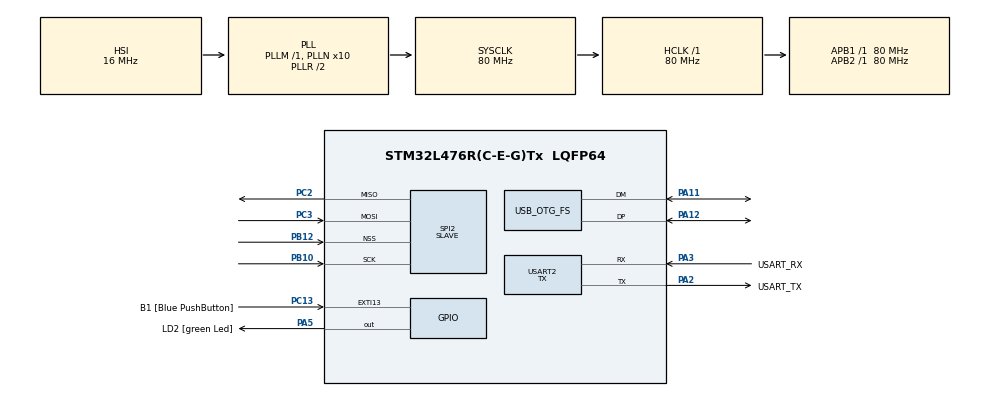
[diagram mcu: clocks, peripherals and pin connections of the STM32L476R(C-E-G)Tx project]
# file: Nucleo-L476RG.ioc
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Mcu.Family=STM32L4
Mcu.Name=STM32L476R(C-E-G)Tx
Mcu.Package=LQFP64
NVIC.PriorityGroup=NVIC_PRIORITYGROUP_4
PA11.Mode=Device_Only
PA11.Signal=USB_OTG_FS_DM
PA12.Mode=Device_Only
PA12.Signal=USB_OTG_FS_DP
PA13\ (JTMS-SWDIO).GPIO_Label=TMS
PA13\ (JTMS-SWDIO).Mode=Trace_Asynchronous_SW
PA13\ (JTMS-SWDIO).Signal=SYS_JTMS-SWDIO
PA14\ (JTCK-SWCLK).GPIO_Label=TCK
PA14\ (JTCK-SWCLK).Mode=Trace_Asynchronous_SW
PA14\ (JTCK-SWCLK).Signal=SYS_JTCK-SWCLK
PA2.GPIO_Label=USART_TX
PA2.GPIO_Mode=GPIO_MODE_AF_PP
PA2.GPIO_PuPd=GPIO_NOPULL
PA2.GPIO_Speed=GPIO_SPEED_FREQ_VERY_HIGH
PA2.Mode=Asynchronous
PA2.Signal=USART2_TX
PA3.GPIO_Label=USART_RX
PA3.GPIO_Mode=GPIO_MODE_AF_PP
PA3.GPIO_PuPd=GPIO_NOPULL
PA3.GPIO_Speed=GPIO_SPEED_FREQ_VERY_HIGH
PA3.Mode=Asynchronous
PA3.Signal=USART2_RX
PA5.GPIO_Label=LD2 [green Led]
PA5.GPIO_ModeDefaultOutputPP=GPIO_MODE_OUTPUT_PP
PA5.GPIO_PuPd=GPIO_NOPULL
PA5.GPIO_Speed=GPIO_SPEED_FREQ_LOW
PA5.Signal=GPIO_Output
PB10.Mode=Full_Duplex_Slave
PB10.Signal=SPI2_SCK
PB12.Mode=NSS_Signal_Hard_Input
PB12.Signal=SPI2_NSS
PB3\ (JTDO-TRACESWO).GPIO_Label=SWO
PB3\ (JTDO-TRACESWO).Mode=Trace_Asynchronous_SW
PB3\ (JTDO-TRACESWO).Signal=SYS_JTDO-SWO
PC13.GPIO_Label=B1 [Blue PushButton]
PC13.GPIO_ModeDefaultEXTI=GPIO_MODE_IT_FALLING
PC13.GPIO_PuPd=GPIO_NOPULL
PC13.Signal=GPXTI13
PC14-OSC32_IN\ (PC14).Mode=LSE-External-Oscillator
PC14-OSC32_IN\ (PC14).Signal=RCC_OSC32_IN
PC15-OSC32_OUT\ (PC15).Mode=LSE-External-Oscillator
PC15-OSC32_OUT\ (PC15).Signal=RCC_OSC32_OUT
PC2.Mode=Full_Duplex_Slave
PC2.Signal=SPI2_MISO
PC3.Mode=Full_Duplex_Slave
PC3.Signal=SPI2_MOSI
PH0-OSC_IN\ (PH0).Signal=RCC_OSC_IN
PH1-OSC_OUT\ (PH1).Signal=RCC_OSC_OUT
ProjectManager.HeapSize=0x200
ProjectManager.StackSize=0xf000
ProjectManager.TargetToolchain=STM32CubeIDE
RCC.ADCFreq_Value=64000000
RCC.AHBFreq_Value=80000000
RCC.APB1Freq_Value=80000000
RCC.APB1TimFreq_Value=80000000
RCC.APB2Freq_Value=80000000
RCC.APB2TimFreq_Value=80000000
RCC.CK48CLockSelection=RCC_USBCLKSOURCE_MSI
RCC.CortexFreq_Value=80000000
RCC.HCLKFreq_Value=80000000
RCC.HSE_VALUE=8000000
RCC.HSI_VALUE=16000000
RCC.MSIClockRange=RCC_MSIRANGE_11
RCC.MSI_VALUE=48000000
RCC.PLLN=10
RCC.PLLSourceVirtual=RCC_PLLSOURCE_HSI
RCC.PREFETCH_ENABLE=1
RCC.RTCClockSelection=RCC_RTCCLKSOURCE_LSE
RCC.SYSCLKFreq_VALUE=80000000
RCC.SYSCLKSource=RCC_SYSCLKSOURCE_PLLCLK
RCC.USBFreq_Value=48000000
RCC.VCOOutputFreq_Value=160000000
RTC.Format=RTC_FORMAT_BIN
SPI2.DataSize=SPI_DATASIZE_8BIT
SPI2.Direction=SPI_DIRECTION_2LINES
SPI2.Mode=SPI_MODE_SLAVE
SPI2.VirtualNSS=VM_NSSHARD
SPI2.VirtualType=VM_SLAVE
USART2.Mode=MODE_TX
USART2.VirtualMode-Asynchronous=VM_ASYNC
USART2.WordLength=WORDLENGTH_8B
USB_OTG_FS.VirtualMode=Device_Only
VP_RNG_VS_RNG.Mode=RNG_Activate
VP_RTC_VS_RTC_Activate.Mode=RTC_Enabled
VP_RTC_VS_RTC_Calendar.Mode=RTC_Calendar
board=NUCLEO-L476RG

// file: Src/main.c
/* USER CODE BEGIN Header */
/**
  ******************************************************************************
  * @file           : main.c
  * @brief          : Main program body
  ******************************************************************************
  * @attention
  *
  * Copyright (c) 2022 STMicroelectronics.
  * All rights reserved.
  *
  * This software is licensed under terms that can be found in the LICENSE file
  * in the root directory of this software component.
  * If no LICENSE file comes with this software, it is provided AS-IS.
  *
  ******************************************************************************
  */
/* USER CODE END Header */
#include "main.h"

/* USER CODE BEGIN Includes */
#include <stdio.h>
#include <stdint.h>
#include <stdbool.h>
#include <time.h>
#include "TpmDevice.h"
#include "StmUtil.h"
#include "spi_utils.h"

/* USER CODE END Includes */

RNG_HandleTypeDef hrng;

RTC_HandleTypeDef hrtc;

SPI_HandleTypeDef hspi2;

UART_HandleTypeDef huart2;

PCD_HandleTypeDef hpcd_USB_OTG_FS;

/* USER CODE BEGIN PV */
/* Private variables ---------------------------------------------------------*/

/* USER CODE END PV */

void SystemClock_Config(void);
static void MX_GPIO_Init(void);
static void MX_RNG_Init(void);
static void MX_RTC_Init(void);
static void MX_USART2_UART_Init(void);
static void MX_SPI2_Init(void);
static void MX_USB_OTG_FS_PCD_Init(void);
/* USER CODE BEGIN PFP */
uint8_t rx_spi_buff[512] = {0};
uint8_t tx_spi_buff[512] = {0};
/* Private function prototypes -----------------------------------------------*/
#define CPU_CORE_FREQUENCY_HZ 800000000 /* CPU core frequency in Hz */
void SWO_Init(uint32_t portBits, uint32_t cpuCoreFreqHz);
/* USER CODE END PFP */

int main(void)
{

  /* MCU Configuration--------------------------------------------------------*/

  /* Reset of all peripherals, Initializes the Flash interface and the Systick. */
  HAL_Init();

  /* Configure the system clock */
  SystemClock_Config();

  /* Initialize all configured peripherals */
  MX_GPIO_Init();
  MX_RNG_Init();
  MX_RTC_Init();
  MX_USART2_UART_Init();
  MX_SPI2_Init();
  MX_USB_OTG_FS_PCD_Init();
  /* USER CODE BEGIN 2 */
  InitializeITM();
  fprintf(stderr, "\r\n\r\n=========================\r\n"
                          "= Nucleo-L476RG TPM 2.0 =\r\n"
                          "=========================\r\n");
  printf("Nucleo-L476RG TPM 2.0\r\n");

  if(!TpmInitializeDevice())
  {
      //_Error_Handler(__FILE__, __LINE__);
	  Error_Handler();
  }

  spi_main_loop();

  /* USER CODE END 2 */

  /* Infinite loop */
  while (1)
  {

  }
}

void SystemClock_Config(void)
{
  RCC_OscInitTypeDef RCC_OscInitStruct = {0};
  RCC_ClkInitTypeDef RCC_ClkInitStruct = {0};

  /** Configure the main internal regulator output voltage
  */
  if (HAL_PWREx_ControlVoltageScaling(PWR_REGULATOR_VOLTAGE_SCALE1) != HAL_OK)
  {
    Error_Handler();
  }

  /** Configure LSE Drive Capability
  */
  HAL_PWR_EnableBkUpAccess();
  __HAL_RCC_LSEDRIVE_CONFIG(RCC_LSEDRIVE_LOW);

  /** Initializes the RCC Oscillators according to the specified parameters
  * in the RCC_OscInitTypeDef structure.
  */
  RCC_OscInitStruct.OscillatorType = RCC_OSCILLATORTYPE_HSI|RCC_OSCILLATORTYPE_LSE
                              |RCC_OSCILLATORTYPE_MSI;
  RCC_OscInitStruct.LSEState = RCC_LSE_ON;
  RCC_OscInitStruct.HSIState = RCC_HSI_ON;
  RCC_OscInitStruct.HSICalibrationValue = RCC_HSICALIBRATION_DEFAULT;
  RCC_OscInitStruct.MSIState = RCC_MSI_ON;
  RCC_OscInitStruct.MSICalibrationValue = 0;
  RCC_OscInitStruct.MSIClockRange = RCC_MSIRANGE_11;
  RCC_OscInitStruct.PLL.PLLState = RCC_PLL_ON;
  RCC_OscInitStruct.PLL.PLLSource = RCC_PLLSOURCE_HSI;
  RCC_OscInitStruct.PLL.PLLM = 1;
  RCC_OscInitStruct.PLL.PLLN = 10;
  RCC_OscInitStruct.PLL.PLLP = RCC_PLLP_DIV7;
  RCC_OscInitStruct.PLL.PLLQ = RCC_PLLQ_DIV2;
  RCC_OscInitStruct.PLL.PLLR = RCC_PLLR_DIV2;
  if (HAL_RCC_OscConfig(&RCC_OscInitStruct) != HAL_OK)
  {
    Error_Handler();
  }

  /** Initializes the CPU, AHB and APB buses clocks
  */
  RCC_ClkInitStruct.ClockType = RCC_CLOCKTYPE_HCLK|RCC_CLOCKTYPE_SYSCLK
                              |RCC_CLOCKTYPE_PCLK1|RCC_CLOCKTYPE_PCLK2;
  RCC_ClkInitStruct.SYSCLKSource = RCC_SYSCLKSOURCE_PLLCLK;
  RCC_ClkInitStruct.AHBCLKDivider = RCC_SYSCLK_DIV1;
  RCC_ClkInitStruct.APB1CLKDivider = RCC_HCLK_DIV1;
  RCC_ClkInitStruct.APB2CLKDivider = RCC_HCLK_DIV1;

  if (HAL_RCC_ClockConfig(&RCC_ClkInitStruct, FLASH_LATENCY_4) != HAL_OK)
  {
    Error_Handler();
  }

  /** Enable MSI Auto calibration
  */
  HAL_RCCEx_EnableMSIPLLMode();
}

static void MX_RNG_Init(void)
{

  hrng.Instance = RNG;
  if (HAL_RNG_Init(&hrng) != HAL_OK)
  {
    Error_Handler();
  }

}

static void MX_RTC_Init(void)
{

  RTC_TimeTypeDef sTime = {0};
  RTC_DateTypeDef sDate = {0};

  /** Initialize RTC Only
  */
  hrtc.Instance = RTC;
  hrtc.Init.HourFormat = RTC_HOURFORMAT_24;
  hrtc.Init.AsynchPrediv = 127;
  hrtc.Init.SynchPrediv = 255;
  hrtc.Init.OutPut = RTC_OUTPUT_DISABLE;
  hrtc.Init.OutPutRemap = RTC_OUTPUT_REMAP_NONE;
  hrtc.Init.OutPutPolarity = RTC_OUTPUT_POLARITY_HIGH;
  hrtc.Init.OutPutType = RTC_OUTPUT_TYPE_OPENDRAIN;
  if (HAL_RTC_Init(&hrtc) != HAL_OK)
  {
    Error_Handler();
  }

  /** Initialize RTC and set the Time and Date
  */
  sTime.Hours = 0;
  sTime.Minutes = 0;
  sTime.Seconds = 0;
  sTime.DayLightSaving = RTC_DAYLIGHTSAVING_NONE;
  sTime.StoreOperation = RTC_STOREOPERATION_RESET;
  if (HAL_RTC_SetTime(&hrtc, &sTime, RTC_FORMAT_BIN) != HAL_OK)
  {
    Error_Handler();
  }
  sDate.WeekDay = RTC_WEEKDAY_MONDAY;
  sDate.Month = RTC_MONTH_JANUARY;
  sDate.Date = 1;
  sDate.Year = 0;

  if (HAL_RTC_SetDate(&hrtc, &sDate, RTC_FORMAT_BIN) != HAL_OK)
  {
    Error_Handler();
  }

}

static void MX_SPI2_Init(void)
{

  /* SPI2 parameter configuration*/
  hspi2.Instance = SPI2;
  hspi2.Init.Mode = SPI_MODE_SLAVE;
  hspi2.Init.Direction = SPI_DIRECTION_2LINES;
  hspi2.Init.DataSize = SPI_DATASIZE_8BIT;
  hspi2.Init.CLKPolarity = SPI_POLARITY_LOW;
  hspi2.Init.CLKPhase = SPI_PHASE_1EDGE;
  hspi2.Init.NSS = SPI_NSS_HARD_INPUT;
  hspi2.Init.FirstBit = SPI_FIRSTBIT_MSB;
  hspi2.Init.TIMode = SPI_TIMODE_DISABLE;
  hspi2.Init.CRCCalculation = SPI_CRCCALCULATION_DISABLE;
  hspi2.Init.CRCPolynomial = 7;
  hspi2.Init.CRCLength = SPI_CRC_LENGTH_DATASIZE;
  hspi2.Init.NSSPMode = SPI_NSS_PULSE_DISABLE;
  if (HAL_SPI_Init(&hspi2) != HAL_OK)
  {
    Error_Handler();
  }

}

static void MX_USART2_UART_Init(void)
{

  huart2.Instance = USART2;
  huart2.Init.BaudRate = 115200;
  huart2.Init.WordLength = UART_WORDLENGTH_8B;
  huart2.Init.StopBits = UART_STOPBITS_1;
  huart2.Init.Parity = UART_PARITY_NONE;
  huart2.Init.Mode = UART_MODE_TX;
  huart2.Init.HwFlowCtl = UART_HWCONTROL_NONE;
  huart2.Init.OverSampling = UART_OVERSAMPLING_16;
  huart2.Init.OneBitSampling = UART_ONE_BIT_SAMPLE_DISABLE;
  huart2.AdvancedInit.AdvFeatureInit = UART_ADVFEATURE_NO_INIT;
  if (HAL_UART_Init(&huart2) != HAL_OK)
  {
    Error_Handler();
  }

}

static void MX_USB_OTG_FS_PCD_Init(void)
{

  hpcd_USB_OTG_FS.Instance = USB_OTG_FS;
  hpcd_USB_OTG_FS.Init.dev_endpoints = 6;
  hpcd_USB_OTG_FS.Init.speed = PCD_SPEED_FULL;
  hpcd_USB_OTG_FS.Init.phy_itface = PCD_PHY_EMBEDDED;
  hpcd_USB_OTG_FS.Init.Sof_enable = DISABLE;
  hpcd_USB_OTG_FS.Init.low_power_enable = DISABLE;
  hpcd_USB_OTG_FS.Init.lpm_enable = DISABLE;
  hpcd_USB_OTG_FS.Init.battery_charging_enable = DISABLE;
  hpcd_USB_OTG_FS.Init.use_dedicated_ep1 = DISABLE;
  hpcd_USB_OTG_FS.Init.vbus_sensing_enable = DISABLE;
  if (HAL_PCD_Init(&hpcd_USB_OTG_FS) != HAL_OK)
  {
    Error_Handler();
  }

}

static void MX_GPIO_Init(void)
{
  GPIO_InitTypeDef GPIO_InitStruct = {0};

  /* GPIO Ports Clock Enable */
  __HAL_RCC_GPIOC_CLK_ENABLE();
  __HAL_RCC_GPIOH_CLK_ENABLE();
  __HAL_RCC_GPIOA_CLK_ENABLE();
  __HAL_RCC_GPIOB_CLK_ENABLE();

  /*Configure GPIO pin Output Level */
  HAL_GPIO_WritePin(LD2_GPIO_Port, LD2_Pin, GPIO_PIN_RESET);

  /*Configure GPIO pin : B1_Pin */
  GPIO_InitStruct.Pin = B1_Pin;
  GPIO_InitStruct.Mode = GPIO_MODE_IT_FALLING;
  GPIO_InitStruct.Pull = GPIO_NOPULL;
  HAL_GPIO_Init(B1_GPIO_Port, &GPIO_InitStruct);

  /*Configure GPIO pin : LD2_Pin */
  GPIO_InitStruct.Pin = LD2_Pin;
  GPIO_InitStruct.Mode = GPIO_MODE_OUTPUT_PP;
  GPIO_InitStruct.Pull = GPIO_NOPULL;
  GPIO_InitStruct.Speed = GPIO_SPEED_FREQ_LOW;
  HAL_GPIO_Init(LD2_GPIO_Port, &GPIO_InitStruct);

}

void Error_Handler(void)
{
  /* USER CODE BEGIN Error_Handler_Debug */
  //dbgPrint("PANIC: EXECUTION HALTED %s@%d\r\n", file, line);
	dbgPrint("PANIC: EXECUTION HALTED\r\n");
  /* User can add his own implementation to report the HAL error return state */
  while(1)
  {
  }
  /* USER CODE END Error_Handler_Debug */
}
